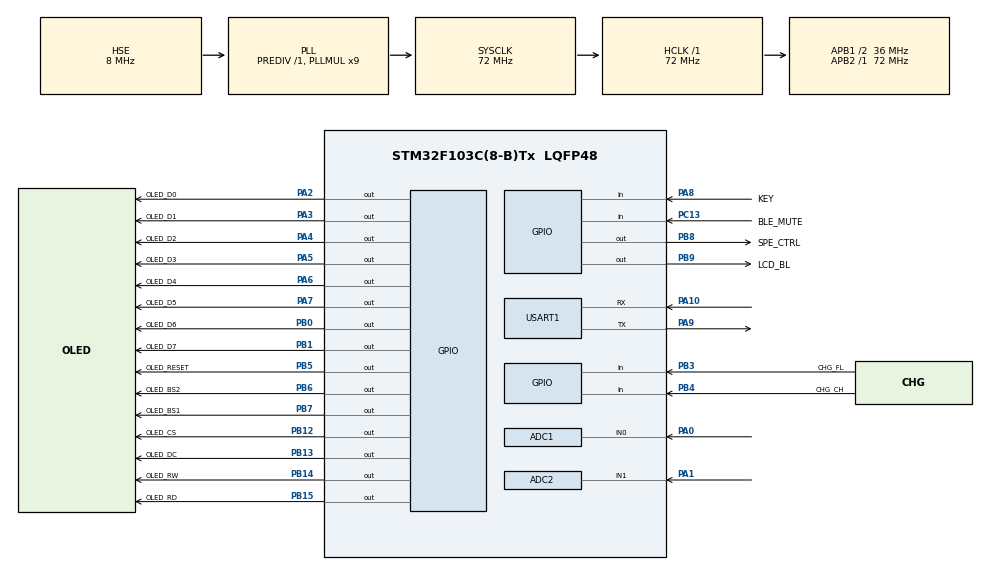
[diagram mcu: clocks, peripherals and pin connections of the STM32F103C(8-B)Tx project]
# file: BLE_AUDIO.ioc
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ADC1.Channel-2\#ChannelRegularConversion=ADC_CHANNEL_0
ADC1.ContinuousConvMode=ENABLE
ADC1.EnableRegularConversion=ENABLE
ADC1.InjNumberOfConversion=0
ADC1.NbrOfConversion=1
ADC1.NbrOfConversionFlag=1
ADC1.Rank-2\#ChannelRegularConversion=1
ADC1.SamplingTime-2\#ChannelRegularConversion=ADC_SAMPLETIME_239CYCLES_5
ADC1.master=1
ADC2.Channel-0\#ChannelRegularConversion=ADC_CHANNEL_1
ADC2.ContinuousConvMode=ENABLE
ADC2.NbrOfConversionFlag=1
ADC2.Rank-0\#ChannelRegularConversion=1
ADC2.SamplingTime-0\#ChannelRegularConversion=ADC_SAMPLETIME_7CYCLES_5
Mcu.Family=STM32F1
Mcu.Name=STM32F103C(8-B)Tx
Mcu.Package=LQFP48
NVIC.ADC1_2_IRQn=true\:0\:0\:false\:false\:true\:true\:true
NVIC.PriorityGroup=NVIC_PRIORITYGROUP_4
NVIC.TIM4_IRQn=true\:0\:0\:false\:false\:true\:true\:true
PA0-WKUP.Signal=ADCx_IN0
PA1.Signal=ADCx_IN1
PA10.Mode=Asynchronous
PA10.Signal=USART1_RX
PA13.Mode=Serial_Wire
PA13.Signal=SYS_JTMS-SWDIO
PA14.Mode=Serial_Wire
PA14.Signal=SYS_JTCK-SWCLK
PA2.GPIO_Label=OLED_D0
PA2.PinState=GPIO_PIN_SET
PA2.Signal=GPIO_Output
PA3.GPIO_Label=OLED_D1
PA3.PinState=GPIO_PIN_SET
PA3.Signal=GPIO_Output
PA4.GPIO_Label=OLED_D2
PA4.PinState=GPIO_PIN_SET
PA4.Signal=GPIO_Output
PA5.GPIO_Label=OLED_D3
PA5.PinState=GPIO_PIN_SET
PA5.Signal=GPIO_Output
PA6.GPIO_Label=OLED_D4
PA6.PinState=GPIO_PIN_SET
PA6.Signal=GPIO_Output
PA7.GPIO_Label=OLED_D5
PA7.PinState=GPIO_PIN_SET
PA7.Signal=GPIO_Output
PA8.GPIO_Label=KEY
PA8.GPIO_PuPd=GPIO_PULLDOWN
PA8.Signal=GPIO_Input
PA9.Mode=Asynchronous
PA9.Signal=USART1_TX
PB0.GPIO_Label=OLED_D6
PB0.PinState=GPIO_PIN_SET
PB0.Signal=GPIO_Output
PB1.GPIO_Label=OLED_D7
PB1.PinState=GPIO_PIN_SET
PB1.Signal=GPIO_Output
PB12.GPIO_Label=OLED_CS
PB12.PinState=GPIO_PIN_SET
PB12.Signal=GPIO_Output
PB13.GPIO_Label=OLED_DC
PB13.PinState=GPIO_PIN_SET
PB13.Signal=GPIO_Output
PB14.GPIO_Label=OLED_RW
PB14.PinState=GPIO_PIN_SET
PB14.Signal=GPIO_Output
PB15.GPIO_Label=OLED_RD
PB15.PinState=GPIO_PIN_SET
PB15.Signal=GPIO_Output
PB3.GPIO_Label=CHG_FL
PB3.Signal=GPIO_Input
PB4.GPIO_Label=CHG_CH
PB4.Signal=GPIO_Input
PB5.GPIO_Label=OLED_RESET
PB5.PinState=GPIO_PIN_SET
PB5.Signal=GPIO_Output
PB6.GPIO_Label=OLED_BS2
PB6.PinState=GPIO_PIN_SET
PB6.Signal=GPIO_Output
PB7.GPIO_Label=OLED_BS1
PB7.PinState=GPIO_PIN_SET
PB7.Signal=GPIO_Output
PB8.GPIO_Label=SPE_CTRL
PB8.Signal=GPIO_Output
PB9.GPIO_Label=LCD_BL
PB9.PinState=GPIO_PIN_SET
PB9.Signal=GPIO_Output
PC13-TAMPER-RTC.GPIO_Label=BLE_MUTE
PC13-TAMPER-RTC.GPIO_PuPd=GPIO_PULLUP
PC13-TAMPER-RTC.Signal=GPIO_Input
PC14-OSC32_IN.Mode=LSE-External-Oscillator
PC14-OSC32_IN.Signal=RCC_OSC32_IN
PC15-OSC32_OUT.Mode=LSE-External-Oscillator
PC15-OSC32_OUT.Signal=RCC_OSC32_OUT
PD0-OSC_IN.Mode=HSE-External-Oscillator
PD0-OSC_IN.Signal=RCC_OSC_IN
PD1-OSC_OUT.Mode=HSE-External-Oscillator
PD1-OSC_OUT.Signal=RCC_OSC_OUT
ProjectManager.HeapSize=0x200
ProjectManager.StackSize=0x400
ProjectManager.TargetToolchain=MDK-ARM V5
RCC.ADCPresc=RCC_ADCPCLK2_DIV6
RCC.AHBFreq_Value=72000000
RCC.APB1CLKDivider=RCC_HCLK_DIV2
RCC.APB1Freq_Value=36000000
RCC.APB1TimFreq_Value=72000000
RCC.APB2Freq_Value=72000000
RCC.APB2TimFreq_Value=72000000
RCC.HCLKFreq_Value=72000000
RCC.PLLMUL=RCC_PLL_MUL9
RCC.PLLSourceVirtual=RCC_PLLSOURCE_HSE
RCC.SYSCLKFreq_VALUE=72000000
RCC.SYSCLKSource=RCC_SYSCLKSOURCE_PLLCLK
RCC.USBFreq_Value=72000000
RTC.AutoPrediv=RTC_AUTO_1_SECOND
RTC.Date=8
RTC.Hours=19
RTC.Month=RTC_MONTH_AUGUST
RTC.WeekDay=RTC_WEEKDAY_THURSDAY
RTC.Year=19
SH.ADCx_IN0.0=ADC1_IN0,IN0
SH.ADCx_IN1.0=ADC2_IN1,IN1
TIM4.AutoReloadPreload=TIM_AUTORELOAD_PRELOAD_ENABLE
TIM4.Period=99
TIM4.Prescaler=71
USART1.VirtualMode=VM_ASYNC
VP_RTC_No_RTC_Output.Mode=RTC_OUT_NO
VP_RTC_VS_RTC_Activate.Mode=RTC_Enabled
VP_RTC_VS_RTC_Calendar.Mode=RTC_Calendar
VP_TIM4_VS_ClockSourceINT.Mode=Internal
board=custom

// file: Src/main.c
/* USER CODE BEGIN Header */
/**
  ******************************************************************************
  * @file           : main.c
  * @brief          : Main program body
  ******************************************************************************
  * @attention
  *
  * <h2><center>&copy; Copyright (c) 2019 STMicroelectronics.
  * All rights reserved.</center></h2>
  *
  * This software component is licensed by ST under BSD 3-Clause license,
  * the "License"; You may not use this file except in compliance with the
  * License. You may obtain a copy of the License at:
  *                        opensource.org/licenses/BSD-3-Clause
  *
  ******************************************************************************
  */
/* USER CODE END Header */

#include "main.h"
#include "adc.h"
#include "rtc.h"
#include "tim.h"
#include "usart.h"
#include "gpio.h"

/* USER CODE BEGIN Includes */
#include "oled.h"
#include "math.h"
#include "string.h"
#include "stm32_dsp.h"

/* USER CODE END Includes */

/* USER CODE BEGIN PTD */

#define NPT 64					//FFT采样点数
uint8_t	GREEN_STOP_TIME=10;		//绿色点顶端停顿时间，值越大时间越长
uint8_t	GREEN_SUB_SPEED=40;		//绿色点下移速度，值越大速度越慢
uint8_t	RED_SUB_SPEED=2;		//红色频柱向下缩短速度，值越大速度越慢
uint32_t ADC_DataNum=0;			//ADC采样点数
uint32_t RedTime=0;				//红色点下移时间变量

uint32_t GreenTime=0;			//绿色点下移时间变量
uint32_t GreenStopTime[32]= {0};	//绿色点顶端停顿时间数据

volatile uint8_t ADC_TimeOutFlag = 0;			//ADC定时采样时间到标志

__IO uint16_t ADCConvertedValue;		//ADC采样值

long lBUFMAG[NPT+NPT/2];					//存储求模后的数据
long lBUFOUT[NPT];//FFT输出序列
long lBUFIN[NPT];//FFT输入系列

uint8_t fftHightRedBuf[NPT/2]= {0};			//红色频柱高度数组
uint8_t fftHightGreenBuf[NPT/2]= {0};		//绿色频点高度数组

/* USER CODE END PTD */

/* USER CODE BEGIN PV */

void HAL_TIM_PeriodElapsedCallback(TIM_HandleTypeDef *htim)
{
    if(htim->Instance == TIM4)
    {
        ADC_TimeOutFlag = 1;
    }
}

void music_fft_main(uint8_t *RedNewHeight,uint8_t *GreenNewHeight)
{
    int i=0;
    static uint8_t RedOldHeight[32] = {0};
    static uint8_t GreenOldHeight[32] = {0};
    for(i=0; i<32; i++)
    {
        if(1)
        {
            uint8_t a,b,c;
            c = RedNewHeight[i]/2;
            if(c>=64)
            {
                c = 64;
            }
            if(c/8)
            {
                uint8_t val=0;
                for(val=0; val<c/8; val++)
                {
                    OLED_GRAM[i * 4 + 0][val] = 0xFF;
                    OLED_GRAM[i * 4 + 1][val] = 0xFF;
                    OLED_GRAM[i * 4 + 2][val] = 0xFF;
                }
            }
            if(c%8)
            {
                for(b=c/8*8; b<c+1; b++)
                {
                    OLED_DrawPoint(i * 4 + 0,64 - b,1);
                    OLED_DrawPoint(i * 4 + 1,64 - b,1);
                    OLED_DrawPoint(i * 4 + 2,64 - b,1);
                }
            }

            a = GreenNewHeight[i]/2 + 2;
            if(a>=64)a=64;
            OLED_DrawPoint(i * 4 + 0,64 - a,1);
            OLED_DrawPoint(i * 4 + 1,64 - a,1);
            OLED_DrawPoint(i * 4 + 2,64 - a,1);
            OLED_DrawPoint(i * 4 + 0,64 - a - 1,1);
            OLED_DrawPoint(i * 4 + 1,64 - a - 1,1);
            OLED_DrawPoint(i * 4 + 2,64 - a - 1,1);

            if(a<64)
            {
                for(b=0; b<64-a; b++)
                {
                    OLED_DrawPoint(i * 4 + 0,b,0);
                    OLED_DrawPoint(i * 4 + 1,b,0);
                    OLED_DrawPoint(i * 4 + 2,b,0);
                }
            }
        }

        //将新数据保存
        RedOldHeight[i] = RedNewHeight[i];
        GreenOldHeight[i] = GreenNewHeight[i];
    }
    OLED_Refresh_Gram();
}

void powerMag(long nfill)
{   int32_t lX,lY;
    uint32_t i;
    for (i=0; i < nfill; i++)
    {
        lX= (lBUFOUT[i]<<16)>>16; /* sine_cosine --> cos */
        lY= (lBUFOUT[i] >> 16);   /* sine_cosine --> sin */
        {
            float X=  64*((float)lX)/32768;
            float Y = 64*((float)lY)/32768;
            float Mag = sqrt(X*X+ Y*Y)/nfill;  // 先平方和,再开方
            lBUFMAG[i] = (long)(Mag*65536);
        }
    }
}

/* USER CODE END PV */

void SystemClock_Config(void);

int main(void)
{
    /* USER CODE BEGIN 1 */
//	uint8_t ble_sta = 0;//蓝牙连接标志
    RTC_DateTypeDef sdatestructure;
    RTC_TimeTypeDef stimestructure;
    char str[20];

    uint8_t i = 0;

    uint32_t ADC_Value[2];
    float battery=0;

    uint16_t temp_val[2];

    uint8_t mode = 0,key_sta = 0;

    uint8_t refresh_data=0;
    /* USER CODE END 1 */

    /* MCU Configuration--------------------------------------------------------*/

    /* Reset of all peripherals, Initializes the Flash interface and the Systick. */
    HAL_Init();

    /* Configure the system clock */
    SystemClock_Config();

    /* Initialize all configured peripherals */
    MX_GPIO_Init();
    MX_ADC1_Init();
    MX_USART1_UART_Init();
    MX_RTC_Init();
    MX_TIM4_Init();
    MX_ADC2_Init();
    /* USER CODE BEGIN 2 */
    HAL_GPIO_WritePin(SPE_CTRL_GPIO_Port,SPE_CTRL_Pin,GPIO_PIN_SET);
    __HAL_TIM_ENABLE_IT(&htim4,TIM_IT_UPDATE);

    OLED_Init();
    OLED_Clear();
    show_str(0,0,"蓝牙音箱",16,16);

//	show_str(0,48,"等待蓝牙连接...",16,16);
    OLED_Refresh_Gram();
    /* USER CODE END 2 */

    /* Infinite loop */
    /* USER CODE BEGIN WHILE */
    HAL_TIM_Base_Start_IT(&htim4);
    while (1)
    {
        refresh_data ++;
        if(HAL_GPIO_ReadPin(KEY_GPIO_Port,KEY_Pin) == GPIO_PIN_SET)
        {
            HAL_Delay(10);
            if(HAL_GPIO_ReadPin(KEY_GPIO_Port,KEY_Pin) == GPIO_PIN_SET)
            {
                if(key_sta == 0)
                {
                    key_sta = 1;
                    mode ++;
                    OLED_Clear();
                    if(mode == 5)
                    {
                        mode = 0;
                    }
                    if(mode == 1)
                    {
                        ADC_TimeOutFlag = 0;
                    }
                }
            }
        }
        else if(HAL_GPIO_ReadPin(KEY_GPIO_Port,KEY_Pin) == GPIO_PIN_RESET)
        {
            HAL_Delay(10);
            if(HAL_GPIO_ReadPin(KEY_GPIO_Port,KEY_Pin) == GPIO_PIN_RESET)
            {
                key_sta = 0;
            }
        }

//	  sprintf(str,"%d",mode);
//	  show_str(0,48,(const uint8_t *)str,16,16);

        if(mode == 0)
        {
            show_str(0,0,"蓝牙音箱",16,16);
            if(HAL_GPIO_ReadPin(BLE_MUTE_GPIO_Port,BLE_MUTE_Pin) == GPIO_PIN_RESET)
            {
                HAL_Delay(10);
                if(HAL_GPIO_ReadPin(BLE_MUTE_GPIO_Port,BLE_MUTE_Pin) == GPIO_PIN_RESET)
                {
                    show_str(2,16,"播放",16,16);
                    HAL_GPIO_WritePin(SPE_CTRL_GPIO_Port,SPE_CTRL_Pin,GPIO_PIN_SET);
                }
            }
            else if(HAL_GPIO_ReadPin(BLE_MUTE_GPIO_Port,BLE_MUTE_Pin) == GPIO_PIN_SET)
            {
                show_str(2,16,"静音",16,16);
                HAL_GPIO_WritePin(SPE_CTRL_GPIO_Port,SPE_CTRL_Pin,GPIO_PIN_RESET);
            }

            if(refresh_data > 50)
            {
                refresh_data = 0;
            }
            if(refresh_data == 2)
            {
                HAL_ADC_Start(&hadc1);
                HAL_ADC_PollForConversion(&hadc1, 50);
                if(HAL_IS_BIT_SET(HAL_ADC_GetState(&hadc1), HAL_ADC_STATE_REG_EOC))
                {
                    ADCConvertedValue = HAL_ADC_GetValue(&hadc1);
                    temp_val[0] = (uint16_t)(ADCConvertedValue*6.63/4.096)/1000;//解决分压电阻阻值误差，理论上应该是3.3半电压6.6，实际7.897比较接近真实电压
                    temp_val[1] = (uint16_t)(ADCConvertedValue*6.63/4.096)%1000;

                    battery = ((temp_val[0] + temp_val[1] * 0.001 - 3.25) * 100 / (4.15 - 3.25));
                    if(battery >= 100)
                    {
                        battery = 100;
                    }
                    else if(battery <= 0)
                    {
                        battery = 0;
                    }
                    sprintf(str,"电压:%d.%03dV",temp_val[0],temp_val[1]);
                    show_str(36,16,(const uint8_t *)str,16,16);

                    sprintf(str,"%3d%s",(uint8_t)battery,"%");
                    show_str(78,1,(const uint8_t *)str,16,16);

                    oled_showPicture(110,1,bmp_battery[(uint8_t)battery*12/99],10,16);
                }
            }

            if(1)							//显示日历
            {
                /* Get the RTC current Time ,must get time first*/
                HAL_RTC_GetTime(&hrtc, &stimestructure, RTC_FORMAT_BIN);
                /* Get the RTC current Date */
                HAL_RTC_GetDate(&hrtc, &sdatestructure, RTC_FORMAT_BIN);
                sprintf(str,"%4d年%2d月%2d日",2000 + sdatestructure.Year, sdatestructure.Month, sdatestructure.Date);
                show_str(0,32,(const uint8_t *)str,16,16);
                sprintf(str,"%2d:%02d:%02d",stimestructure.Hours, stimestructure.Minutes, stimestructure.Seconds);
                show_str(0,48,(const uint8_t *)str,16,16);
            }
        }
        else if(mode == 2)
        {
            sprintf(str,"版本号:V1.0");
            show_str(16,16,(const uint8_t *)str,16,16);
            sprintf(str,"Lovelessing...");
            show_str(16,32,(const uint8_t *)str,16,16);
        }
        else if(mode == 3)
        {
            sprintf(str,"频谱显示");
            show_str(16,16,(const uint8_t *)str,16,16);
        }
        else if(mode == 4)
        {
            sprintf(str,"波形显示");
            show_str(16,16,(const uint8_t *)str,16,16);
        }

//	  sprintf(str,"%d",mode);
//	  show_str(0,32,(const uint8_t *)str,16,16);
//	  OLED_Refresh_Gram();

        else if(mode == 1)
        {
            if(ADC_TimeOutFlag)
            {
                GreenTime++;
                RedTime++;
                ADC_TimeOutFlag=0;
                if(ADC_DataNum<NPT)
                {
                    //采样点没有达到所要求的点
                    HAL_ADC_Start(&hadc2);
                    HAL_ADC_PollForConversion(&hadc2, 50);
                    if(HAL_IS_BIT_SET(HAL_ADC_GetState(&hadc2), HAL_ADC_STATE_REG_EOC))
                    {
                        ADCConvertedValue = HAL_ADC_GetValue(&hadc2);
                    }
                    lBUFIN[ADC_DataNum]=ADCConvertedValue<<16;
                    ADC_DataNum++;
                }
                else
                {
                    HAL_TIM_Base_Stop(&htim4);
                    ADC_DataNum=0;

                    if(0)
                    {
                        //KEY handle
                    }

                    cr4_fft_64_stm32(lBUFOUT,lBUFIN,NPT);//调用STM32的DSP库作FFT变换
                    powerMag(NPT);//计算频点幅值
                    //更新红色点的高度
                    for(i=1; i<NPT/2 + 1; i++)
                    {
                        if((uint8_t)(lBUFMAG[i-1])>fftHightRedBuf[i-1])
                        {
                            fftHightRedBuf[i-1]=(lBUFMAG[i-1])/2;
                        }
                        //刷新绿色点高度
                        if(fftHightRedBuf[i-1]>=fftHightGreenBuf[i-1])
                        {
                            fftHightGreenBuf[i]=fftHightRedBuf[i-1];
                            GreenStopTime[i-1]=GREEN_STOP_TIME;//绿点停顿时间
                            if(fftHightRedBuf[i-1]>=128)
                            {
                                fftHightGreenBuf[i-1]=128;
                                fftHightRedBuf[i-1]=128;
                            }
                        }
                    }
                    //显示红色柱子
                    music_fft_main(fftHightRedBuf,fftHightGreenBuf);
                    //显示绿色点
                    //绿色点下移
                    if((GreenTime>GREEN_SUB_SPEED))
                    {
                        //绿色点下降间隔时间
                        GreenTime=0;
                        for(i=0; i<NPT/2; i++)
                        {
                            if((fftHightGreenBuf[i]!=0)&&(GreenStopTime[i]==0))
                            {
                                fftHightGreenBuf[i]--;
                            }
                        }
                    }
                    //红色下移
                    if(RedTime>RED_SUB_SPEED)
                    {
                        RedTime=0;
                        for(i=0; i<NPT/2; i++)
                        {
                            if(fftHightRedBuf[i]!=0)
                            {
                                fftHightRedBuf[i]--;
                            }
                        }
                    }
                    //绿色点停顿时间减一
                    for(i=0; i<NPT/2; i++)
                    {
                        if(GreenStopTime[i]!=0)
                        {
                            GreenStopTime[i]--;
                        }
                    }
                    HAL_TIM_Base_Start(&htim4);
                    ADC_TimeOutFlag = 0;
                }
            }
        }
        /* USER CODE END WHILE */

        /* USER CODE BEGIN 3 */
        if(mode != 1)
            OLED_Refresh_Gram();
    }
    /* USER CODE END 3 */
}

void SystemClock_Config(void)
{
    RCC_OscInitTypeDef RCC_OscInitStruct = {0};
    RCC_ClkInitTypeDef RCC_ClkInitStruct = {0};
    RCC_PeriphCLKInitTypeDef PeriphClkInit = {0};

    /** Initializes the CPU, AHB and APB busses clocks
    */
    RCC_OscInitStruct.OscillatorType = RCC_OSCILLATORTYPE_LSI|RCC_OSCILLATORTYPE_HSE;
    RCC_OscInitStruct.HSEState = RCC_HSE_ON;
    RCC_OscInitStruct.HSEPredivValue = RCC_HSE_PREDIV_DIV1;
    RCC_OscInitStruct.HSIState = RCC_HSI_ON;
    RCC_OscInitStruct.LSIState = RCC_LSI_ON;
    RCC_OscInitStruct.PLL.PLLState = RCC_PLL_ON;
    RCC_OscInitStruct.PLL.PLLSource = RCC_PLLSOURCE_HSE;
    RCC_OscInitStruct.PLL.PLLMUL = RCC_PLL_MUL9;
    if (HAL_RCC_OscConfig(&RCC_OscInitStruct) != HAL_OK)
    {
        Error_Handler();
    }
    /** Initializes the CPU, AHB and APB busses clocks
    */
    RCC_ClkInitStruct.ClockType = RCC_CLOCKTYPE_HCLK|RCC_CLOCKTYPE_SYSCLK
                                  |RCC_CLOCKTYPE_PCLK1|RCC_CLOCKTYPE_PCLK2;
    RCC_ClkInitStruct.SYSCLKSource = RCC_SYSCLKSOURCE_PLLCLK;
    RCC_ClkInitStruct.AHBCLKDivider = RCC_SYSCLK_DIV1;
    RCC_ClkInitStruct.APB1CLKDivider = RCC_HCLK_DIV2;
    RCC_ClkInitStruct.APB2CLKDivider = RCC_HCLK_DIV1;

    if (HAL_RCC_ClockConfig(&RCC_ClkInitStruct, FLASH_LATENCY_2) != HAL_OK)
    {
        Error_Handler();
    }
    PeriphClkInit.PeriphClockSelection = RCC_PERIPHCLK_RTC|RCC_PERIPHCLK_ADC;
    PeriphClkInit.RTCClockSelection = RCC_RTCCLKSOURCE_LSI;
    PeriphClkInit.AdcClockSelection = RCC_ADCPCLK2_DIV6;
    if (HAL_RCCEx_PeriphCLKConfig(&PeriphClkInit) != HAL_OK)
    {
        Error_Handler();
    }
}

void Error_Handler(void)
{
}

/************************ (C) COPYRIGHT STMicroelectronics *****END OF FILE****/
